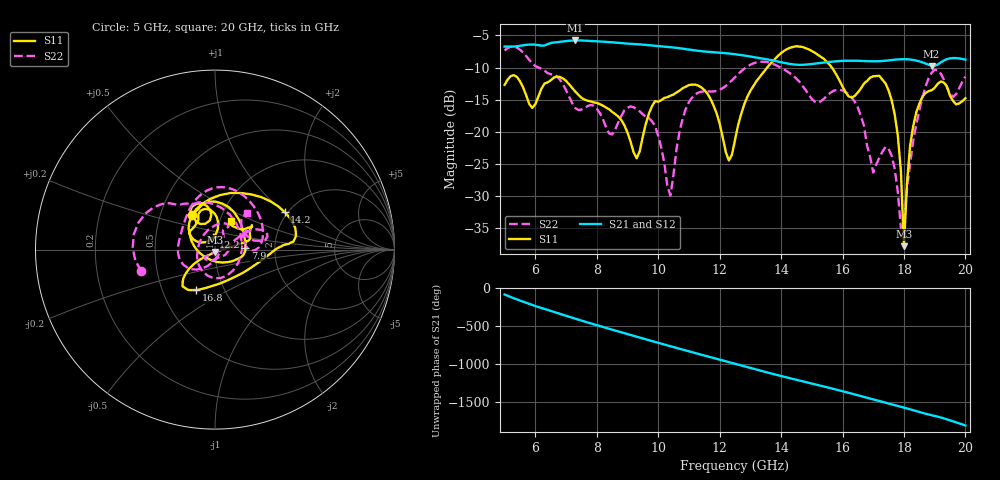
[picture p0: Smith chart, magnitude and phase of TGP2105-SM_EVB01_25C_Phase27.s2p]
! Date: Wednesday, June 05, 2013  1:50 PM
! Filename: C:\Data\Mike_Arnold\TGP2105-SM\Over_Temp\TGP2105-SM_EVB01_25C_Phase27.s2p
! Comments:
!^VDC(V):5.000
!^VDC(mA):0.080
!%Freq(GHz),S11(dB),S11(ang),S21(dB),S21(ang),S12(dB),S12(ang),S22(dB),S22(ang)
# GHz  S  DB  R  50
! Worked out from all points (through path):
!   151 points, 5 GHz to 20 GHz, reference 50 ohm
!   highest |S21| = -5.79 dB at 7.3 GHz (marker M1); lowest = -9.7 dB at 18.9 GHz (marker M2)
!   lowest |S11| = -37.8 dB at 18 GHz (marker M3), VSWR 1.03, Z = 49.9 - j1.29 ohm
!   |S11| at or under -10 dB: start of sweep to 13.55 GHz; 15.65 GHz to end of sweep
!   |S22| runs from -34.9 to -6.7 dB; largest |S21 - S12| = 0.0021
!   S11 on the Smith chart (normalised r, x): 5 GHz: 0.72, +0.29; 7.9 GHz: 1.41, +0.03; 12.2 GHz: 0.97, +0.14; 14.2 GHz: 1.92, +1.00; 16.8 GHz: 0.74, -0.35; 20 GHz: 1.13, +0.37
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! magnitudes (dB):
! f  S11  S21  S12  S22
! 5 GHz  -12.7  -6.7  -6.8  -7.4
! 7.3 GHz  -13.7  -5.8  -5.8  -16.3
! 7.5 GHz  -14.7  -5.8  -5.8  -16.5
! 7.9 GHz  -15.4  -5.9  -5.9  -15.9
! 8.5 GHz  -16.9  -6.1  -6.1  -20.4
! 9.3 GHz  -24.1  -6.4  -6.4  -16.5
! 10 GHz  -15.3  -6.7  -6.7  -20.6
! 10.4 GHz  -14.4  -6.8  -6.9  -29.9
! 11 GHz  -12.7  -7.2  -7.2  -15.4
! 12.2 GHz  -23.1  -7.8  -7.8  -12.9
! 12.5 GHz  -21.3  -7.9  -7.9  -11.5
! 14.2 GHz  -7.1  -9.4  -9.4  -10.6
! 15 GHz  -7.4  -9.5  -9.5  -14.9
! 16.2 GHz  -14.5  -8.9  -9.0  -14.1
! 16.8 GHz  -12.1  -9.0  -9.0  -22.2
! 17 GHz  -11.4  -9.0  -9.1  -26.3
! 17.5 GHz  -13.6  -8.9  -8.9  -22.6
! 17.8 GHz  -20.6  -8.7  -8.8  -29.3
! 18 GHz  -37.8  -8.7  -8.7  -34.4
! 18.3 GHz  -19.1  -8.8  -8.8  -21.5
! 18.9 GHz  -13.5  -9.7  -9.8  -10.8
! 20 GHz  -14.8  -8.8  -8.8  -11.4
